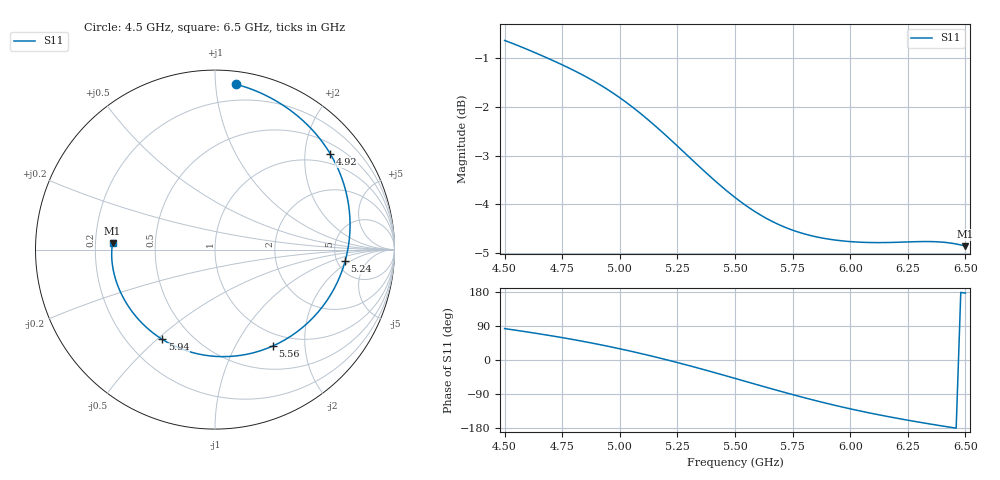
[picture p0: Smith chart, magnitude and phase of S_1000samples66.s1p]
! TOUCHSTONE file generated by CST MICROWAVE STUDIO
! Date and time: Wed Oct 26 21:06:33 2022
! Project name: L.cst
! Parameters = {Di=1.27; Epsilon_r=1.56; InnerDiameter=1.27; Length=2; Lf=10; Lg=60; OuterConductorThickness=0.2921; OuterDiameter=3.6; Wf=3; Wp=41.2; de=1.5; df=6.8; g=0.8; gx=3.84609; gy=2.32066; h=2.34; hf=1.524; px=12.7144; py=9.66451; w=9.7; wx=8.86832; wy=7.34386}
! Header version: 2018
! Port assignment regex: !\s*Touchstone port\s*([0-9]+)\s*=\s*(CST MWS port|CST DS port)\s*([0-9]+|Zmin|Zmax)\s*\(\"(.*)\"\)(\s*mode\s*([0-9]+))?.*
! Touchstone port assignment:
! Touchstone port 1 = CST MWS port 1 ("")
# GHz S DB R 50
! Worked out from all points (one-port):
!   101 points, 4.5 GHz to 6.5 GHz, reference 50 ohm
!   lowest |S11| = -4.9 dB at 6.5 GHz (marker M1), VSWR 3.67, Z = 13.6 + j1.39 ohm
!   |S11| at or under -10 dB: nowhere
!   S11 on the Smith chart (normalised r, x): 4.5 GHz: 0.08, +1.13; 4.92 GHz: 0.73, +2.58; 5.24 GHz: 5.88, -1.64; 5.56 GHz: 0.81, -1.44; 5.94 GHz: 0.34, -0.52; 6.5 GHz: 0.27, +0.03
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4.5  -0.64 82.9
4.56  -0.75 77.5
4.64  -0.91 70.0
4.76  -1.16 58.0
4.84  -1.35 49.2
4.92  -1.57 39.7
5  -1.82 29.6
5.06  -2.03 21.5
5.12  -2.25 13.0
5.18  -2.50 4.1
5.24  -2.76 -5.2
5.26  -2.85 -8.3
5.32  -3.11 -18.0
5.38  -3.37 -28.0
5.44  -3.62 -38.2
5.5  -3.86 -48.5
5.56  -4.06 -58.9
5.6  -4.19 -65.9
5.66  -4.34 -76.2
5.76  -4.54 -92.9
5.84  -4.65 -105.6
5.94  -4.73 -120.5
6  -4.76 -128.8
6.12  -4.78 -144.1
6.18  -4.78 -151.1
6.26  -4.77 -159.9
6.38  -4.76 -172.2
6.5  -4.85 176.6
